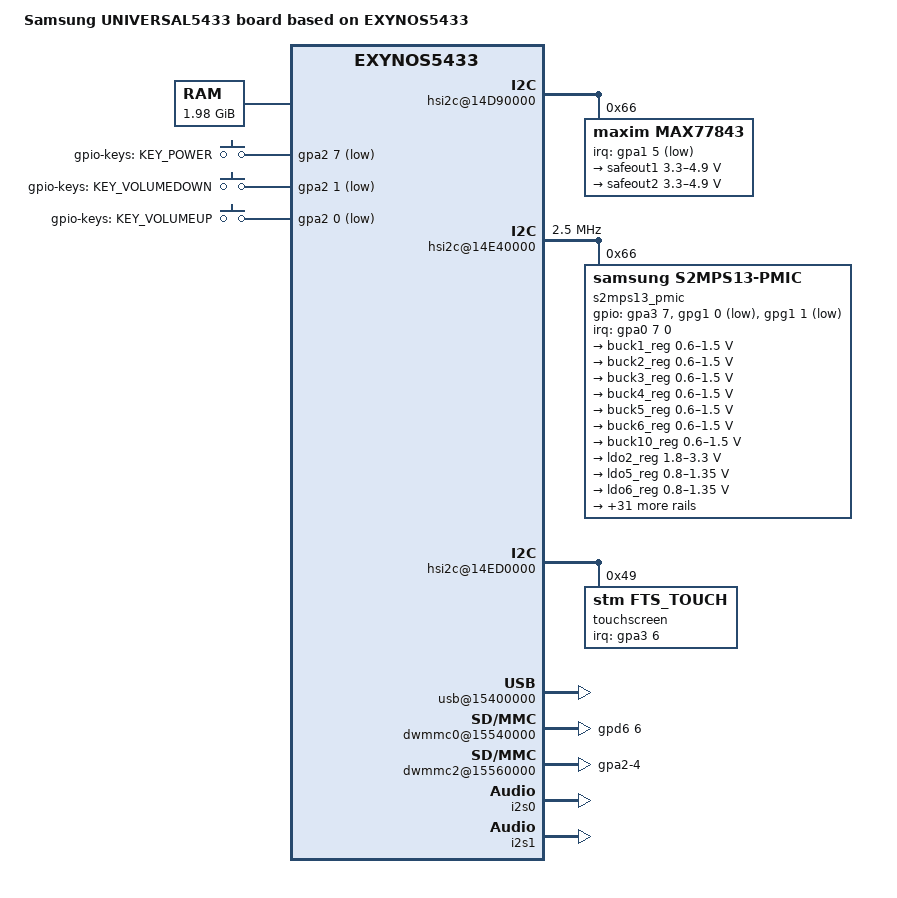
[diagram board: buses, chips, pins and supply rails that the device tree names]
/*
 * SAMSUNG UNIVERSAL5433 board device tree source
 *
 * Copyright (c) 2013 Samsung Electronics Co., Ltd.
 *		http://www.samsung.com
 *
 * This program is free software; you can redistribute it and/or modify
 * it under the terms of the GNU General Public License version 2 as
 * published by the Free Software Foundation.
 */

/dts-v1/;
#include "exynos5433.dtsi"
#include "exynos5433-universal5433_common.dtsi"
#include "exynos5433-universal5433_battery.dtsi"

/ {
	model = "Samsung UNIVERSAL5433 board based on EXYNOS5433";
	compatible = "samsung,UNIVERSAL5433", "samsung,exynos5433";

	memory {
		device_type = "memory";
		/* 2Gbyte - 16Mbyte(spare) */
		reg = <0x20000000 0x7F000000>;
	};

	reserved-memory {
		#address-cells = <1>;
		#size-cells = <1>;
		ranges;

		common {
			compatible = "exynos5433-ion,common";
			size = <0x600000>;
			alignment = <0x1000>;
			id = <0>;
		};

		g2d_wfd {
			compatible = "exynos5433-ion,g2d_wfd";
			size = <0x800000>;
			alignment = <0x1000>;
			id = <10>;
		};

		video {
			compatible = "exynos5433-ion,video";
			size = <0x6800000>;
			alignment = <0x10000>;
			id = <11>;
			compat-id = <4 5 6 7>;
		};

		video_ext {
			compatible = "exynos5433-ion,video_ext";
			reusable;
			size = <0x4000000>;
			alignment = <0x400000>;
			id = <1>;
		};

		mfc_fw {
			compatible = "exynos5433-ion,mfc_fw";
			size = <0x100000>;
			alignment = <0x10000>;
			id = <8>;
		};

		mfc_nfw {
			compatible = "exynos5433-ion,mfc_nfw";
			size = <0x100000>;
			alignment = <0x1000>;
			id = <12>;
		};

		sectbl {
			compatible = "exynos5433-ion,sectbl";
			size = <0x100000>;
			alignment = <0x10000>;
			id = <9>;
		};

		secdma {
			compatible = "exynos5433-ion,secdma";
			size = <0x20000>;
			alignment = <0x10000>;
			id = <13>;
		};

		mipi_lli_reserved: mipi_lli {
			compatible = "mipi-lli-shmem";
			#memory-region-cells = <0>;
			size = <0x800000>;
			alignment = <0x800000>;
		};
	};

	aliases {
		spi0 = &spi_0;
		spi1 = &spi_1;
		spi2 = &spi_2;
		spi3 = &spi_3;
		spi4 = &spi_4;
		spi5 = &spi_5;
		spi6 = &spi_6;
	};

	chosen {
		bootargs = "earlyprintk=exynos,0x14C20000 console=ttySAC1,115200n8 ess_setup=0x26000000";
		linux,initrd-start = <0x22000000>;
		linux,initrd-end = <0x220FFFFF>;

	};

	fixed-rate-clocks {
		oscclk {
			compatible = "samsung,exynos5433-oscclk";
			clock-frequency = <24000000>;
		};
	};

	pinctrl@10580000 {
		pmic_irq: pmic-irq {
			samsung,pins = "gpa0-7";
			samsung,pin-pud = <0>;
			samsung,pin-drv = <3>;
		};

		fuel_irq: fuel-irq {
			samsung,pins = "gpa1-5";
			samsung,pin-function = <0>;
			samsung,pin-pud = <0>;
			samsung,pin-drv = <0>;
		};

		/* Warm reset information from AP */
		pm_wrsti: pm-wrsti {
			samsung,pins = "gpf5-4";
			samsung,pin-pud = <0>;
			samsung,pin-con-pdn = <3>;
		};
		gpa2_pull_up: gpa2_pull_up {
			samsung,pins = "gpa2-0", "gpa2-1", "gpa2-7";
			samsung,pin-function = <0xf>;
			samsung,pin-pud = <3>;
			samsung,pin-drv = <0>;
		};
	};

	gpio_keys {
		compatible = "gpio-keys";
		#address-cells = <1>;
		#size-cells = <0>;
		pinctrl-names = "default";
		pinctrl-0 = <&gpa2_pull_up>;
		button@1 {
			label = "gpio-keys: KEY_POWER";
			interrupts = <7 0 0>;
			interrupt-parent = <&gpa2>;
			linux,code = <116>;
			gpios = <&gpa2 7 0xf>;
			gpio-key,wakeup = <1>;
		};
		button@2 {
			label = "gpio-keys: KEY_VOLUMEDOWN";
			interrupts = <1 0 0>;
			interrupt-parent = <&gpa2>;
			linux,code = <114>;
			gpios = <&gpa2 1 0xf>;
		};
		button@3 {
			label = "gpio-keys: KEY_VOLUMEUP";
			interrupts = <0 0 0>;
			interrupt-parent = <&gpa2>;
			linux,code = <115>;
			gpios = <&gpa2 0 0xf>;
		};
	};

	hsi2c@14D90000 {
		max77843@66 {
			compatible = "maxim,max77843";
			reg = <0x66>;
			pinctrl-names = "default";
			pinctrl-0 = <&fuel_irq>;
			max77843,irq-gpio = <&gpa1 5 1>;
			max77843,wakeup;

			regulators {
				safeout1: ESAFEOUT1 {
					regulator-compatible = "safeout1";
					regulator-name = "safeout1_range";
					regulator-min-microvolt = <3300000>;
					regulator-max-microvolt = <4900000>;
					regulator-boot-on;
				};

				safeout2: ESAFEOUT2 {
					regulator-compatible = "safeout2";
					regulator-name = "safeout2_range";
					regulator-min-microvolt = <3300000>;
					regulator-max-microvolt = <4900000>;
				};
			};
		};
	};


	hsi2c@14D90000 {
		status = "okay";

		max77843@66 {
			status = "okay";
		};
	};

	pinctrl@14CC0000 {
		pm_g3d_en: pm-g3d-en {
			samsung,pins = "gpg1-0";
			samsung,pin-pud = <3>;
			samsung,pin-con-pdn = <0>;
			samsung,pin-pud-pdn = <2>;
		};

		pm_dvs_en: pm-dvs-en {
			samsung,pins = "gpg1-1";
			samsung,pin-pud = <0>;
			samsung,pin-con-pdn = <3>;
			samsung,pin-pud-pdn = <2>;
		};
	};

	hsi2c@14E40000 {
		status = "okay";
		samsung,hs-mode;
		clock-frequency = <2500000>;

		s2mps13_pmic@66 {
			compatible = "samsung,s2mps13-pmic";
			reg = <0x66>;
			interrupts = <7 0 0>;
			interrupt-parent = <&gpa0>;
			pinctrl-names = "default";
			pinctrl-0 = <&pmic_irq &pm_wrsti>;
			gpios = <&gpa3 7 0>, <&gpg1 0 0x1>, <&gpg1 1 0x1>;
			smpl_warn_en = <0>; /* 1 : enable , 0 : disable*/
			smpl_warn_vth = <0xc0>;
			g3d_en = <1>; /* 1 : enable , 0 : disable */
			dvs_en = <1>; /* 1 : enable , 0 : disable */
			/* RTC: wtsr/smpl */
			wtsr_en = <1>; /* enable */
			smpl_en = <1>; /* enable */
			wtsr_timer_val = <3>;	/* 1000ms */
			smpl_timer_val = <0>;	/* 500ms */
			check_jigon = <0>; /* do not check jigon */
			/* RTC: If it's first boot, reset rtc to 1/1/2014 12:00:00(Wed) */
			init_time,sec = <0>;
			init_time,min = <0>;
			init_time,hour = <12>;
			init_time,mday = <1>;
			init_time,mon = <0>;
			init_time,year = <114>;
			init_time,wday = <3>;

			regulators {
				buck1_reg: BUCK1 {
					regulator-name = "vdd_mif";
					regulator-min-microvolt = <600000>;
					regulator-max-microvolt = <1500000>;
					regulator-always-on;
					regulator-boot-on;
					regulator-ramp-delay = <12000>;
					regulator-initial-mode = <1>;
				};

				buck2_reg: BUCK2 {
					regulator-name = "vdd_eagle";
					regulator-min-microvolt = <600000>;
					regulator-max-microvolt = <1500000>;
					regulator-always-on;
					regulator-boot-on;
					regulator-ramp-delay = <12000>;
					regulator-initial-mode = <1>;
				};

				buck3_reg: BUCK3 {
					regulator-name = "vdd_kfc";
					regulator-min-microvolt = <600000>;
					regulator-max-microvolt = <1500000>;
					regulator-always-on;
					regulator-boot-on;
					regulator-ramp-delay = <12000>;
					regulator-initial-mode = <1>;
				};

				buck4_reg: BUCK4 {
					regulator-name = "vdd_int";
					regulator-min-microvolt = <600000>;
					regulator-max-microvolt = <1500000>;
					regulator-always-on;
					regulator-boot-on;
					regulator-ramp-delay = <12000>;
					regulator-initial-mode = <1>;
				};

				buck5_reg: BUCK5 {
					regulator-name = "vdd_disp_cam0";
					regulator-min-microvolt = <600000>;
					regulator-max-microvolt = <1500000>;
					regulator-always-on;
					regulator-boot-on;
					regulator-ramp-delay = <12000>;
					regulator-initial-mode = <1>;
				};

				buck6_reg: BUCK6 {
					regulator-name = "vdd_g3d";
					regulator-min-microvolt = <600000>;
					regulator-max-microvolt = <1500000>;
					regulator-always-on;
					regulator-boot-on;
					regulator-ramp-delay = <12000>;
					regulator-initial-mode = <1>;
				};

				buck10_reg: BUCK10 {
					regulator-name = "vdd_mem2";
					regulator-min-microvolt = <600000>;
					regulator-max-microvolt = <1500000>;
					regulator-always-on;
					regulator-boot-on;
					regulator-ramp-delay = <12000>;
					regulator-initial-mode = <1>;
				};

				ldo2_reg: LDO2 {
					regulator-name = "vqmmc";
					regulator-min-microvolt = <1800000>;
					regulator-max-microvolt = <3300000>;
					regulator-boot-on;
					regulator-ramp-delay = <12000>;
					regulator-initial-mode = <1>;
				};

				ldo5_reg: LDO5 {
					regulator-name = "vdd_ldo5";
					regulator-min-microvolt = <800000>;
					regulator-max-microvolt = <1350000>;
					regulator-always-on;
					regulator-initial-mode = <1>;
				};

				ldo6_reg: LDO6 {
					regulator-name = "vdd_ldo6";
					regulator-min-microvolt = <800000>;
					regulator-max-microvolt = <1350000>;
					regulator-always-on;
					regulator-initial-mode = <1>;
				};

				ldo7_reg: LDO7 {
					regulator-name = "vdd_ldo7";
					regulator-min-microvolt = <1000000>;
					regulator-max-microvolt = <2100000>;
					regulator-always-on;
					regulator-initial-mode = <1>;
				};

				ldo8_reg: LDO8 {
					regulator-name = "vdd_ldo8";
					regulator-min-microvolt = <1000000>;
					regulator-max-microvolt = <2100000>;
					regulator-always-on;
					regulator-initial-mode = <3>;
				};

				ldo9_reg: LDO9 {
					regulator-name = "vdd_ldo9";
					regulator-min-microvolt = <1000000>;
					regulator-max-microvolt = <2100000>;
					regulator-always-on;
					regulator-initial-mode = <1>;
				};

				ldo10_reg: LDO10 {
					regulator-name = "vdd_ldo10";
					regulator-min-microvolt = <1400000>;
					regulator-max-microvolt = <3400000>;
					regulator-always-on;
					regulator-initial-mode = <1>;
				};

				ldo11_reg: LDO11 {
					regulator-name = "vdd_int_m";
					regulator-min-microvolt = <800000>;
					regulator-max-microvolt = <1350000>;
					regulator-always-on;
					regulator-ramp-delay = <12000>;
					regulator-initial-mode = <1>;
				};

				ldo12_reg: LDO12 {
					regulator-name = "vdd_ldo12";
					regulator-min-microvolt = <800000>;
					regulator-max-microvolt = <1350000>;
					regulator-always-on;
					regulator-initial-mode = <1>;
				};

				ldo13_reg: LDO13 {
					regulator-name = "vdd_ldo13";
					regulator-min-microvolt = <800000>;
					regulator-max-microvolt = <1350000>;
					regulator-always-on;
					regulator-initial-mode = <1>;
				};

				ldo14_reg: LDO14 {
					regulator-name = "vdd_ldo14";
					regulator-min-microvolt = <800000>;
					regulator-max-microvolt = <1350000>;
					regulator-always-on;
					regulator-initial-mode = <1>;
				};

				ldo15_reg: LDO15 {
					regulator-name = "vdd_ldo15";
					regulator-min-microvolt = <800000>;
					regulator-max-microvolt = <1350000>;
					regulator-always-on;
					regulator-initial-mode = <1>;
				};

				ldo16_reg: LDO16 {
					regulator-name = "vdd_ldo16";
					regulator-min-microvolt = <1400000>;
					regulator-max-microvolt = <3400000>;
					regulator-always-on;
					regulator-initial-mode = <1>;
				};

				ldo17_reg: LDO17 {
					regulator-name = "vdd_vmmc";
					regulator-min-microvolt = <1400000>;
					regulator-max-microvolt = <3400000>;
					regulator-always-on;
					regulator-initial-mode = <1>;
				};

				ldo18_reg: LDO18 {
					regulator-name = "vdd_ldo18";
					regulator-min-microvolt = <1000000>;
					regulator-max-microvolt = <2100000>;
					regulator-always-on;
					regulator-initial-mode = <3>;
				};

				ldo19_reg: LDO19 {
					regulator-name = "VDDA_1.8V_COMP";
					regulator-min-microvolt = <1800000>;
					regulator-max-microvolt = <1800000>;
				};

				ldo20_reg: LDO20 {
					regulator-name = "vdd_ldo20";
					regulator-min-microvolt = <1400000>;
					regulator-max-microvolt = <3400000>;
					regulator-always-on;
					regulator-initial-mode = <3>;
				};

				ldo21_reg: LDO21 {
					regulator-name = "VT_CAM_1.8V";
					regulator-min-microvolt = <1800000>;
					regulator-max-microvolt = <1800000>;
				};

				ldo22_reg: LDO22 {
					regulator-name = "CAM_IO_1.8V_AP";
					regulator-min-microvolt = <1800000>;
					regulator-max-microvolt = <1800000>;
				};

				ldo23_reg: LDO23 {
					regulator-name = "CAM_SEN_CORE_1.2V_AP";
					regulator-min-microvolt = <1200000>;
					regulator-max-microvolt = <1200000>;
				};

				ldo24_reg: LDO24 {
					regulator-name = "VT_CAM_1.2V";
					regulator-min-microvolt = <1200000>;
					regulator-max-microvolt = <1200000>;
				};

				ldo25_reg: LDO25 {
					regulator-name = "CAM_SEN_A2.8V_AP";
					regulator-min-microvolt = <2800000>;
					regulator-max-microvolt = <2950000>;
				};

				ldo26_reg: LDO26 {
					regulator-name = "CAM_AF_2.8V_AP";
					regulator-min-microvolt = <2800000>;
					regulator-max-microvolt = <2800000>;
				};

				ldo27_reg: LDO27 {
					regulator-name = "vdd_ldo27";
					regulator-min-microvolt = <1400000>;
					regulator-max-microvolt = <3400000>;
					regulator-always-on;
					regulator-initial-mode = <3>;
				};

				ldo28_reg: LDO28 {
					regulator-name = "vdd_ldo28";
					regulator-min-microvolt = <1000000>;
					regulator-max-microvolt = <2100000>;
					regulator-always-on;
					regulator-initial-mode = <3>;
				};

				ldo29_reg: LDO29 {
					regulator-name = "VT_CAM_2.8V";
					regulator-min-microvolt = <2800000>;
					regulator-max-microvolt = <2800000>;
					regulator-always-on;
					regulator-initial-mode = <3>;
				};

				ldo30_reg: LDO30 {
					regulator-name = "tsp_avdd";
					regulator-min-microvolt = <1400000>;
					regulator-max-microvolt = <3400000>;
					regulator-always-on;
					regulator-initial-mode = <3>;
				};

				ldo31_reg: LDO31 {
					regulator-name = "tsp_io";
					regulator-min-microvolt = <1000000>;
					regulator-max-microvolt = <2100000>;
					regulator-always-on;
					regulator-initial-mode = <3>;
				};

				ldo32_reg: LDO32 {
					regulator-name = "vdd_ldo32";
					regulator-min-microvolt = <1000000>;
					regulator-max-microvolt = <2100000>;
					regulator-always-on;
					regulator-initial-mode = <3>;
				};

				ldo33_reg: LDO33 {
					regulator-name = "vdd_ldo33";
					regulator-min-microvolt = <1400000>;
					regulator-max-microvolt = <3400000>;
					regulator-always-on;
					regulator-initial-mode = <3>;
				};

				ldo34_reg: LDO34 {
					regulator-name = "vdd_ldo34";
					regulator-min-microvolt = <1000000>;
					regulator-max-microvolt = <2100000>;
					regulator-always-on;
					regulator-initial-mode = <3>;
				};
				ldo36_reg: LDO36 {
					regulator-name = "vdd_ldo36";
					regulator-min-microvolt = <800000>;
					regulator-max-microvolt = <1350000>;
					regulator-always-on;
					regulator-initial-mode = <3>;
				};

				ldo37_reg: LDO37 {
					regulator-name = "vdd_ldo37";
					regulator-min-microvolt = <1000000>;
					regulator-max-microvolt = <2100000>;
					regulator-always-on;
					regulator-initial-mode = <3>;
				};

				ldo38_reg: LDO38 {
					regulator-name = "vdd_ldo38";
					regulator-min-microvolt = <1400000>;
					regulator-max-microvolt = <3400000>;
					regulator-always-on;
					regulator-initial-mode = <3>;
				};
			};
		};
	};

	hsi2c@14ED0000 {
		status = "okay";
		touchscreen@20 {
			compatible = "stm,fts_touch";
			reg = <0x49>;
			pinctrl-names = "on_state", "off_state";
			pinctrl-0 = <&attn_irq>;
			pinctrl-1 = <&attn_input &i2c_pdn_off>;
			stm,irq_gpio = <&gpa3 6 0>;
			stm,irq_type = <8200>;
			stm,max_coords = <1439 2559>;	/* x y */
			stm,regulator_dvdd = "tsp_io";
			stm,regulator_avdd = "tsp_avdd";
			stm,firmwaire_name = "tsp_stm/stm_t.fw";
		};
	};

	usb@15400000 {
		status = "okay";

		dwc3 {
			maximum-speed = "super-speed";
			dr_mode = "otg";
		};
	};

	dwmmc0@15540000 {
		status = "okay";
		num-slots = <1>;
		broken-cd;
		bypass-smu;
		clock-gate;
		enable-cclk-on-suspend;
		fixed_volt;
		only_once_tune;
		supports-highspeed;
		supports-hs200-mode;
		supports-ddr200-mode;
		enable-cache-control;
		use-enable-shift;
		extra_tuning;
		use-fine-tuning;
		bypass-for-allpass;
		desc-size = <3>;
		fifo-depth = <0x80>;
		qos_int_level = <267000>;
		enable-ulp-mode;
		card-detect-delay = <200>;
		samsung,dw-mshc-ddr200-delay-line = <0x40>;
		samsung,dw-mshc-ddr200-tx-delay-line = <0x20>;
		samsung,dw-mshc-txdt-crc-timer-fastlimit = <0x34>;
		samsung,dw-mshc-txdt-crc-timer-initval = <0x38>;
		samsung,dw-mshc-ciu-div = <3>;
		samsung,dw-mshc-sdr-timing = <3 0 2 0>;
		samsung,dw-mshc-sdr-hs-timing = <3 0 2 1>;
		samsung,dw-mshc-ddr-timing = <3 0 3 2>;
		samsung,dw-mshc-hs200-timing = <3 0 3 0>;
		samsung,dw-mshc-ddr200-timing = <1 1 2 0>;
		samsung,dw-mshc-ddr200-ulp-timing = <3 0 3 0>;
		clk_pin = "gpr0-0";
		clk_addr = "15690000.pinctrl";
		clk_val = <0x3>;
		clk_str_num = <6>;
		num-ref-clks = <10>;
		ciu_clkin = <25 50 50 100 200 100 200 400 400 200>;
		tp_mon_depth = <2>;
		              /* Byte/s,  MIF clk, CPU clk, KFC clk*/
		tp_mon_table = <8000000 825000	0	1300000
				0	0	0	0>;
		pinctrl-names = "default";
		pinctrl-0 = <&sd0_clk &sd0_cmd &sd0_rdqs &sd0_bus1 &sd0_bus4 &sd0_bus8>;
		gpios = <&gpd6 6 0>;
		slot@0 {
			reg = <0>;
			bus-width = <8>;
		};
	};

	dwmmc2@15560000 {
		status = "okay";
		num-slots = <1>;
		bypass-smu;
		supports-highspeed;
		clock-gate;
		enable-cclk-on-suspend;
		fix-fmp-size-mismatch;
		not-allow-single-dma;
		use-fine-tuning;
		bypass-for-allpass;
		cd-type = <0>;
		desc-size = <3>;
		fifo-depth = <0x40>;
		card-detect-delay = <200>;
		qos_int_level = <267000>;
		samsung,dw-mshc-ciu-div = <3>;
		samsung,dw-mshc-sdr-timing = <3 0 2 1>;
		samsung,dw-mshc-ddr-timing = <3 0 3 2>;
		clk_pin = "gpr4-0";
		clk_addr = "15690000.pinctrl";
		clk_val = <0x2>;
		clk_str_num = <6>;
		num-ref-clks = <8>;
		ciu_clkin = <25 50 50 100 200 100 200 400>;
		pinctrl-names = "default";
		pinctrl-0 = <&sd2_clk &sd2_cmd &sd2_cd &sd2_bus1 &sd2_bus4 &dwmmc2_cd_ext_irq>;

		gpio-controller;
		#gpio-cells = <2>;
		cd-gpio = <&gpa2 4 0xf>;

		slot@0 {
			reg = <0>;
			bus-width = <4>;
			disable-wp;
		};
	};

	pinctrl@10580000 {
		dwmmc2_cd_ext_irq: dwmmc2_cd_ext_irq {
		samsung,pins = "gpa2-4";
		samsung,pin-function = <0xf>;
		samsung,pin-pud = <3>;
		samsung,pin-drv = <0>;
		};

		attn_irq: attn-irq {
			samsung,pins = "gpa3-6";
			samsung,pin-function = <0xf>;
			samsung,pin-pud = <0>;
			samsung,pin-drv = <0>;
		};

		attn_input: attn-input {
			samsung,pins = "gpa3-6";
			samsung,pin-function = <0>;
			samsung,pin-pud = <1>;
			samsung,pin-drv = <0>;
		};
	};

	pinctrl@14CE0000 {
		i2c_pdn_off: i2c-pdn_off {
			samsung,pins = "gpj1-1", "gpj1-0";
			samsung,pin-con-pdn = <2>;
			samsung,pin-pud-pdn = <1>;
		};
	};

	ion {
		compatible = "samsung,exynos5430-ion";
	};

	/*disp_driver {*/
	decon_fb: decon_fb {
		lcd_info = <&s6e3ha2>;

		decon: decon_ctrl {
			samsung,max_bpp = <32>;
			samsung,default_bpp = <24>;

			fb_driver_data {
				fb_win_variant_0 {
					has_osd_c = <1>;
					has_osd_d = <1>;
					osd_size_off = <0x08>;
					palette_size = <256>;
					VALID_BPP_1248 = <1>;
					VALID_BPP_13 = <1>;
					VALID_BPP_15 = <1>;
					VALID_BPP_16 = <1>;
					VALID_BPP_18 = <1>;
					VALID_BPP_19 = <1>;
					VALID_BPP_24 = <1>;
					VALID_BPP_25 = <1>;
					VALID_BPP_32 = <1>;
				};
				fb_win_variant_1 {
					has_osd_c = <1>;
					has_osd_d = <1>;
					has_osd_alpha = <1>;
					osd_size_off = <0x0c>;
					palette_size = <256>;
					VALID_BPP_1248 = <1>;
					VALID_BPP_13 = <1>;
					VALID_BPP_15 = <1>;
					VALID_BPP_16 = <1>;
					VALID_BPP_18 = <1>;
					VALID_BPP_19 = <1>;
					VALID_BPP_24 = <1>;
					VALID_BPP_25 = <1>;
					VALID_BPP_32 = <1>;
				};
				fb_win_variant_2 {
					has_osd_c = <1>;
					has_osd_d = <1>;
					has_osd_alpha = <1>;
					osd_size_off = <0x0c>;
					palette_size = <256>;
					VALID_BPP_1248 = <1>;
					VALID_BPP_13 = <1>;
					VALID_BPP_15 = <1>;
					VALID_BPP_16 = <1>;
					VALID_BPP_18 = <1>;
					VALID_BPP_19 = <1>;
					VALID_BPP_24 = <1>;
					VALID_BPP_25 = <1>;
					VALID_BPP_32 = <1>;
				};
				fb_win_variant_3 {
					has_osd_c = <1>;
					has_osd_alpha = <1>;
					palette_size = <256>;
					VALID_BPP_1248 = <1>;
					VALID_BPP_13 = <1>;
					VALID_BPP_15 = <1>;
					VALID_BPP_16 = <1>;
					VALID_BPP_18 = <1>;
					VALID_BPP_19 = <1>;
					VALID_BPP_24 = <1>;
					VALID_BPP_25 = <1>;
					VALID_BPP_32 = <1>;
				};
				fb_win_variant_4 {
					has_osd_c = <1>;
					has_osd_alpha = <1>;
					palette_size = <256>;
					VALID_BPP_1248 = <1>;
					VALID_BPP_13 = <1>;
					VALID_BPP_15 = <1>;
					VALID_BPP_16 = <1>;
					VALID_BPP_18 = <1>;
					VALID_BPP_19 = <1>;
					VALID_BPP_24 = <1>;
					VALID_BPP_25 = <1>;
					VALID_BPP_32 = <1>;
				};
			};
		};

		mipi_dsi: mipi_dsi {
			/* gpios = <&gpv7 2 0x1>; */
			gpios = <&gpv7 2 0x1>, <&gpf1 5 0x1>;

			/* Interface definition: 0 - DSIM_COMMAND,
						 1 - DSIM_VDEO */
			e_interface = <0>;

			/* Pixel format : 0 - DSIM_CMD_3BPP,
					  1 - DSIM_CMD_8BPP,
					  2 - DSIM_CMD_12BPP,
					  3 - DSIM_CMD_16BPP,
					  4 - DSIM_VID_16BPP_565,
					  5 - DSIM_VID_18BPP_666PACKED,
					  6 - DSIM_18BPP_666LOOSELYPACKED,
					  7 - DSIM_24BPP_888 */
			e_pixel_format = <7>;

			/* main frame fifo auto flush at VSYNC pulse */
			auto_flush = <0>;
			eot_disable = <1>;
			auto_vertical_cnt = <0>;
			hse = <0>;
			hfp = <0>;
			hbp = <0>;
			hsa = <0>;

			/* num of data lane : 0 - DSIM_DATA_LANE_1,
					      1 - DSIM_DATA_LANE_2,
					      2 - DSIM_DATA_LANE_3,
					      3 - DSIM_DATA_LANE_4 */
			e_no_data_lane = <3>;
			/* byte clock divider : 0 - DSIM_PLL_OUT_DIV8,
						1 - DSIM_EXT_CLK_DIV8,
						2 - DSIM_EXT_CLK_BYPASS */
			e_byte_clk = <0>;
			/* Burst mode : 0 - DSIM_NON_BURST_SYNC_EVENT,
					2 - DSIM_NON_BURST_SYNC_PULSE,
					1 - DSIM_BURST
					4 - DSIM_NON_VIDEO_MODE */
			e_burst_mode = <1>;

			/* D-PHY PLL stable time spec :min = 200usec ~ max 400usec */
			pll_stable_time = <500>;
			/* escape clk : 7MHz */
			esc_clk = <7000000>;
			/* stop state holding counter after bta change count 0 ~ 0xfff */
			stop_holding_cnt = <0x0fff>;
			/* bta timeout 0 ~ 0xff */
			bta_timeout = <0xff>;
			/* lp rx timeout 0 ~ 0xffff */
			rx_timeout = <0xffff>;
		};
		decon_mic: decon_mic {
			sysreg1 = <0x13B81004>;
			sysreg2 = <0x13B81048>;
		};
		s6e3ha2: s6e3ha2_wqhd {
			mode = <0>;
			resolution = <1440 2560>;
			size = <70 121>;
			timing,refresh = <60>;
			timing,h-porch = <1 1 1>;
			timing,v-porch = <1 1 15>;
			timing,dsi-hs-clk = <1100>;
			timing,dsi-escape-clk = <20>;
			mic = <1>;
			mic_ver = <2>;
		};


	};

	spi_5: spi@141a0000 {
	};

	hsi2c@14EC0000 {
	};

	/* Companion driver */
	fimc_is_companion: fimc_is_companion@14180000 {
		/delete-property/ gpios_cam_en;
	};

	fimc_is_sensor0: fimc_is_sensor@12100000 {
	};

	fimc_is_sensor1: fimc_is_sensor@12110000 {
	};

	fimc_is@14000000 {
	};

	pinctrl@14CC0000 {
	};
        usb_notifier {
                compatible = "samsung,usb-notifier";
        };

        muic {
                status = "disabled";
                muic,support-list = "MHL","OTG","Charging Cable","Jig USB On","Jig UART Off",
                                    "Jig UART Off + VB","Jig UART On",
                                    "TA","USB","CDP","Unofficial","Undefined Charging",
                                    "Deskdock","Deskdock + VB",
                                    "Smartdock","Smartdock + VB","Smartdock + TA","Smartdock + USB",
                                    "TA or AFC","AFC charger Prepare","AFC charger 5V","AFC charger 9V",
                                    "Fuelgauge test","HMT";
                muic,afcmode-tx = /bits/ 8 <0x46>;
        };

	i2s0: i2s@11440000 {
		samsung,supports-esa-dma;
	        samsung,supports-sec-compr;
		status = "okay";
	};

	i2s1: i2s@14D60000 {
		status = "okay";
	};

	audio_codec_dummy: dummy-codec {
		compatible = "samsung,dummy-codec";
		status = "okay";
	};

        i2s_dummy: dummy-i2s {
                compatible = "samsung,dummy-i2s";
                status = "okay";
        };

	sound {
		compatible = "samsung,universal-dummy";
		samsung,audio-cpu = <&i2s0		 /* primary */
				     &i2s0>;		 /* secondary */
		samsung,audio-cpu-hdmi = <&i2s1>;	 /* hdmi */
		samsung,audio-codec = <&audio_codec_dummy
				       &audio_codec_dummy
				       &audio_codec_dummy>;
		status = "okay";
	};

	hdmi@13970000 {
		/* all bit clock supports: 1, not support: 0 */
		audio_master_clk = <1>;
		gpios = <&gpa3 0 0xf>;
	};

	mipi-lli@10F24000 {
		status = "okay";
		memory-region = <&mipi_lli_reserved>;
		modem-name = "ss300";
		modems {
			ss300 {
				/* disable scrambler */
				scrambler = <0>;
				/* do not control automode by AP */
				automode = <0>;
			};

			xmm7260 {
				/* disable scrambler */
				scrambler = <0>;
				/* do not control automode by AP */
				automode = <0>;
			};
		};

		mphy {
			modem-name = "ss300";
			modems {
				ss300 {
					/* initial-gear is HS-G1 */
					init-gear = <2 1 1>;
					/* use shared reference clock for MPHY */
					shd-refclk = <1>;
				};

				xmm7260 {
					/* initial-gear is HS-G1 */
					init-gear = <2 1 1>;
					/* use shared reference clock for MPHY */
					shd-refclk = <1>;
				};
			};
		};
	};
};
